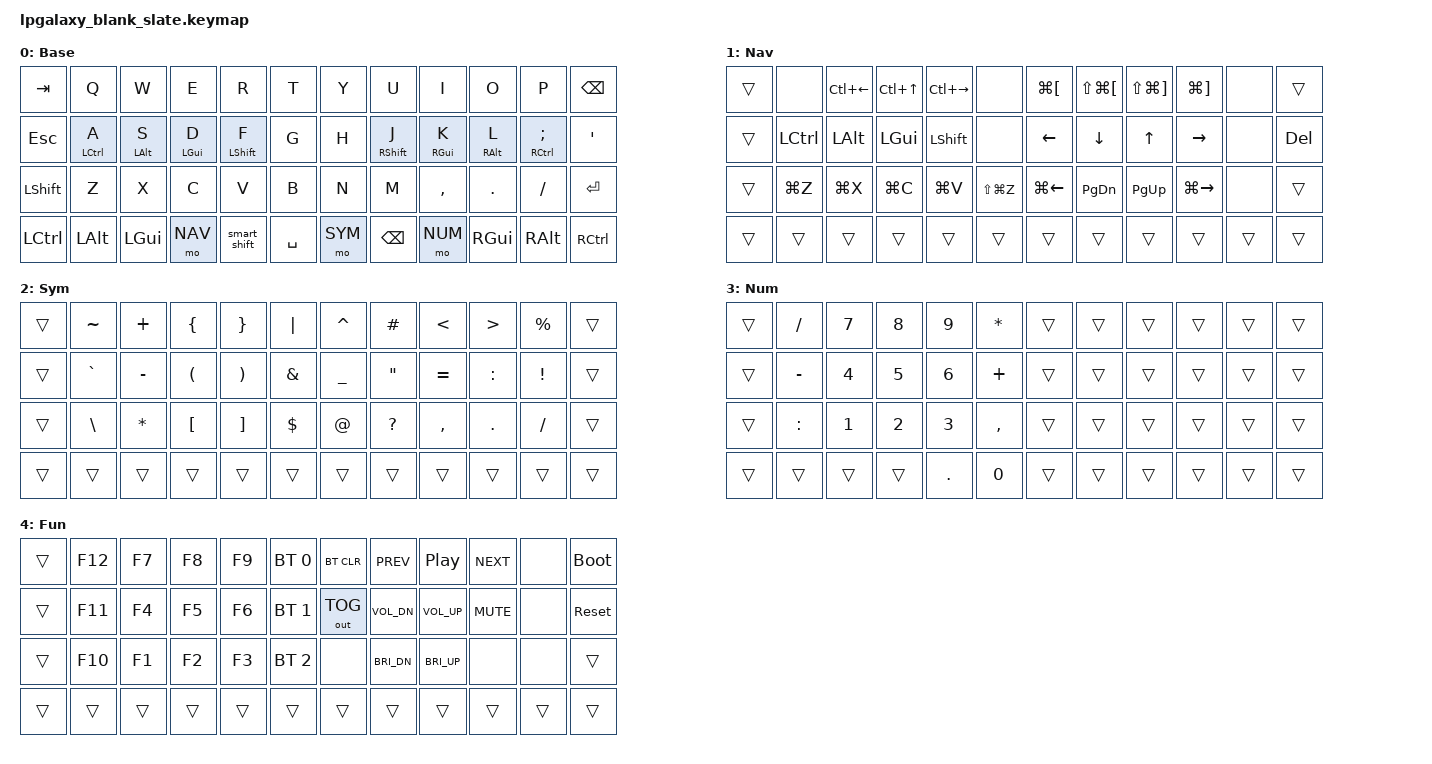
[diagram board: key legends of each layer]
/*
 * LP Galaxy Blank Slate (Planck-compatible 4x12, grid / all 1u) -- QWERTY,
 * macOS, programming (mostly Go + Neovim). Input source on the Mac: US.
 * ZMK board: lpgalaxy_blank_slate (nRF52840, USB + Bluetooth), ZMK v0.3.
 *
 * ==========================================================================
 *  OVERVIEW OF ALL LAYERS
 * ==========================================================================
 *
 * Legend:  A⌃ = tap A, hold Ctrl     ⌃ Ctrl  ⌥ Option  ⌘ Cmd  ⇧ Shift
 *          ⇧* = smart shift (see How to)       blank = nothing / falls through
 *
 * BASE
 *   Tab   Q    W    E    R    T   │  Y    U    I    O    P    Bspc
 *   Esc   A⌃   S⌥   D⌘   F⇧   G   │  H    J⇧   K⌘   L⌥   ;⌃   '
 *   Shft  Z    X    C    V    B   │  N    M    ,    .    /    Enter
 *   ⌃     ⌥    ⌘    NAV  ⇧*  Space│  SYM  Bspc NUM  ⌘    ⌥    ⌃
 *
 * NAV  (hold NAV, left thumb)
 *         ·    Spc← MCtl Spc→ ·   │  Back PTab NTab Fwd  ·
 *         ⌃    ⌥    ⌘    ⇧    ·   │  ←    ↓    ↑    →    ·    Del
 *         Undo Cut  Copy Pste Redo│  LnSt PgDn PgUp LnEn ·
 *                       [held]    │
 *   (LnSt/LnEn = ⌘← / ⌘→ = start/end of line on macOS;
 *    Back/Fwd = ⌘[ / ⌘], PTab/NTab = ⇧⌘[ / ⇧⌘], Spc←/→ = ⌃←/⌃→,
 *    MCtl = Mission Control ⌃↑)
 *
 * SYM  (hold SYM, right thumb)
 *         ~    +    {    }    |   │  ^    #    <    >    %
 *         `    -    (    )    &   │  _    "    =    :    !
 *         \    *    [    ]    $   │  @    ?    ,    .    /
 *                                 │ [held]
 *
 * NUM  (hold NUM, right thumb; right hand keeps typing letters)
 *         /    7    8    9    *   │  y    u    i    o    p
 *         -    4    5    6    +   │  h    j    k    l    ;
 *         :    1    2    3    ,   │  n    m    ,    .    /
 *                        .    0   │            [held]
 *
 * FUN  (hold NAV + SYM together)
 *         F12  F7   F8   F9   BT0 │  BTCl Prev Play Next ·    Boot
 *         F11  F4   F5   F6   BT1 │  USB? Vol- Vol+ Mute ·    Rset
 *         F10  F1   F2   F3   BT2 │  ·    Bri- Bri+ ·    ·
 *                   [held]        │ [held]
 *
 * ==========================================================================
 *  HOW TO
 * ==========================================================================
 *
 * Thumbs
 *   Six thumb keys, each with exactly one job: NAV, smart shift, Space on
 *   the left; SYM, Backspace, NUM on the right. None of them behaves
 *   differently depending on how long you hold it, so there is no timing to
 *   get used to. Layers are only active while their key is held.
 *
 * Modifiers (home row mods)
 *   Hold A S D F (or J K L ;) for Ctrl Option Cmd Shift. This is the order
 *   recommended for macOS. Cmd is on the middle finger because a mistaken
 *   Cmd is the most damaging one (Cmd-W, Cmd-Q).
 *   - A home-row key only turns into a modifier when the NEXT key is on the
 *     other hand (or a thumb). Cmd-C = hold K, tap C. Cmd-L = hold D, tap L.
 *   - While you are typing quickly (a key pressed less than 150 ms ago) the
 *     home row keys are always letters, so rolls like "as" or "jk" are safe.
 *   - Several mods on one hand work: hold A+D (Ctrl+Cmd), then tap a key on
 *     the other hand.
 *   - Modifier + symbol: hold the mod first, then the layer key, then the
 *     symbol. E.g. Cmd-= (zoom): hold D, hold SYM, tap K.
 *   - The corner keys (bottom row) are plain Ctrl/Option/Cmd with no timing,
 *     for Cmd+click, Cmd+drag and other mouse/trackpad use.
 *
 * Capitals and CONSTANTS (⇧* on the left thumb)
 *   - Tap once:  the next key is shifted (NewClient = ⇧* n e w ⇧* c ...).
 *   - Tap twice: caps word, types ALL_CAPS until space or punctuation
 *     (MAX_RETRIES). Digits, _ and Backspace keep it on.
 *   - Hold:      normal Shift.
 *   The outer left Shift key still works like on any keyboard.
 *
 * Symbols (SYM)
 *   Built from the symbol frequencies measured in my own Go code:
 *   " , . : ( ) = { } are the most common symbols; ", := ": }, (" () != //
 *   [] the most common pairs.
 *   - Right home row " = : ! : := and != roll toward the index finger, == is
 *     a double tap with the middle finger.
 *   - Left hand: brackets as open/close pairs in their natural order,
 *     { } over ( ) over [ ], so (), {} and [] are rolls too.
 *     Arithmetic column + - *, logic column | &.
 *   - , . / are in the same place as on the base layer (for ", }, ),).
 *   - < > on the right top row, so <= >= => -> <- |> are comfortable.
 *   - Space (left thumb) and Enter stay usable while SYM is held, so
 *     `x := y` or `err != nil {` never require letting go of the layer.
 *
 * Numbers (NUM)
 *   Numpad on the left hand (7 8 9 / 4 5 6 / 1 2 3), 0 on the left Space
 *   thumb and . next to it. The right hand keeps typing letters, so Neovim
 *   counts work in one go: hold NUM, type 5, then j.
 *
 * Navigation (NAV)
 *   Arrows on H J K L like in Vim. The left home row is plain Ctrl Option
 *   Cmd Shift (no timing), so combine them with the arrows:
 *   NAV + ⌥ + ←/→  = word left/right    NAV + ⇧ + arrows = select
 *   NAV + ⌘ + ↑/↓  = top/bottom of doc  NAV + ⌥ + Bspc   = delete word
 *   Left bottom row: undo, cut, copy, paste, redo, usable with one hand
 *   while the other hand is on the trackpad.
 *   Top row: previous Space, Mission Control, next Space (left); back,
 *   previous tab, next tab, forward (right).
 *
 * Function keys, media, Bluetooth (FUN)
 *   Hold NAV and SYM together. F-keys are laid out like the numpad.
 *   - BT0 / BT1 / BT2: switch between three paired devices (Bluetooth
 *     profiles). Pair a new device: select a free profile, then pick
 *     "Blank Slate" in the Mac's Bluetooth settings.
 *   - BTCl: forget the pairing of the CURRENT profile (re-pair afterwards).
 *   - USB?: toggle output between USB and Bluetooth while the cable is in.
 *   - Boot: enter the bootloader for flashing. Rset: restart the keyboard.
 *
 * Neovim notes
 *   - Holding j/k/l to scroll does NOT repeat (it becomes a modifier).
 *     Use NAV + J/K (arrows repeat), tap-then-hold j (repeats), or counts.
 *   - Esc is a plain key (no Ctrl on hold), so Esc followed quickly by
 *     another key can never turn into a Ctrl shortcut.
 *   - : is on SYM (right ring finger) or Shift + ; as usual.
 *
 * German umlauts (US input source)
 *   Option works from either hand: ö = hold S (Option) + tap U, then O.
 *   ß = hold L (Option) + tap S.
 *
 * Flashing (UF2, nothing to install)
 *   1. Download the firmware from the GitHub Actions run of this repo
 *      (artifact zip contains lpgalaxy_blank_slate-zmk.uf2).
 *   2. Connect the keyboard by USB and press Boot (hold NAV + SYM, tap the
 *      top-right key). If the keymap is ever broken, double-tapping the
 *      board's reset (if reachable) is the usual UF2 fallback.
 *   3. A USB drive appears in Finder. Copy the .uf2 onto it. The keyboard
 *      restarts by itself when the copy is done (macOS may warn that the
 *      drive was not ejected properly -- that is expected).
 *
 * Key positions (used by the home-row-mod hold-trigger lists):
 *   0  1  2  3  4  5 |  6  7  8  9 10 11
 *  12 13 14 15 16 17 | 18 19 20 21 22 23
 *  24 25 26 27 28 29 | 30 31 32 33 34 35
 *  36 37 38 39 40 41 | 42 43 44 45 46 47
 */

#include <behaviors.dtsi>
#include <dt-bindings/zmk/keys.h>
#include <dt-bindings/zmk/bt.h>
#include <dt-bindings/zmk/outputs.h>

#define BASE 0
#define NAV  1
#define SYM  2
#define NUM  3
#define FUN  4

#define KEYS_L 0 1 2 3 4 5 12 13 14 15 16 17 24 25 26 27 28 29
#define KEYS_R 6 7 8 9 10 11 18 19 20 21 22 23 30 31 32 33 34 35
#define THUMBS 36 37 38 39 40 41 42 43 44 45 46 47

&sk {
    release-after-ms = <1000>;
    quick-release; // release on the next key PRESS, so "Hello" never becomes "HEllo"
};

/ {
    chosen {
        zmk,physical-layout = &layout_ortho_4x12_all1u;
    };

    behaviors {
        // Left-hand home row mods: only resolve to a modifier when the next key
        // is on the right hand or a thumb.
        hml: home_row_mod_left {
            compatible = "zmk,behavior-hold-tap";
            #binding-cells = <2>;
            flavor = "balanced";
            tapping-term-ms = <280>;
            quick-tap-ms = <175>;          // tap then hold = key repeat
            require-prior-idle-ms = <150>; // pressed mid-word = always a letter
            bindings = <&kp>, <&kp>;
            hold-trigger-key-positions = <KEYS_R THUMBS>;
            hold-trigger-on-release;       // still allows same-hand mod chords
        };

        // Right-hand home row mods: mirror image of hml.
        hmr: home_row_mod_right {
            compatible = "zmk,behavior-hold-tap";
            #binding-cells = <2>;
            flavor = "balanced";
            tapping-term-ms = <280>;
            quick-tap-ms = <175>;
            require-prior-idle-ms = <150>;
            bindings = <&kp>, <&kp>;
            hold-trigger-key-positions = <KEYS_L THUMBS>;
            hold-trigger-on-release;
        };

        // Tap: sticky shift. Tap again while shift is active: caps word.
        // Hold: plain shift. No timers involved.
        smart_shift: smart_shift {
            compatible = "zmk,behavior-mod-morph";
            #binding-cells = <0>;
            bindings = <&sk LSHFT>, <&caps_word>;
            mods = <(MOD_LSFT|MOD_RSFT)>;
        };
    };

    conditional_layers {
        compatible = "zmk,conditional-layers";
        // Hold NAV + SYM (both thumbs) for function keys and media.
        fun_layer {
            if-layers = <NAV SYM>;
            then-layer = <FUN>;
        };
    };

    keymap {
        compatible = "zmk,keymap";

        // ,-----------------------------------------------------------------------------------.
        // | Tab  |   Q  |   W  |   E  |   R  |   T  |   Y  |   U  |   I  |   O  |   P  | Bspc |
        // |------+------+------+------+------+------+------+------+------+------+------+------|
        // | Esc  |A/Ctl |S/Opt |D/Cmd |F/Sft |   G  |   H  |J/Sft |K/Cmd |L/Opt |;/Ctl |  '   |
        // |------+------+------+------+------+------+------+------+------+------+------+------|
        // | Shift|   Z  |   X  |   C  |   V  |   B  |   N  |   M  |   ,  |   .  |   /  | Enter|
        // |------+------+------+------+------+------+------+------+------+------+------+------|
        // | Ctrl | Opt  | Cmd  | NAV  |SShift| Space| SYM  | Bspc | NUM  | Cmd  | Opt  | Ctrl |
        // `-----------------------------------------------------------------------------------'
        default_layer {
            display-name = "Base";
            bindings = <
    &kp TAB    &kp Q          &kp W         &kp E         &kp R          &kp T         &kp Y      &kp U          &kp I          &kp O         &kp P           &kp BSPC
    &kp ESC    &hml LCTRL A   &hml LALT S   &hml LGUI D   &hml LSHFT F   &kp G         &kp H      &hmr RSHFT J   &hmr RGUI K    &hmr RALT L   &hmr RCTRL SEMI &kp SQT
    &kp LSHFT  &kp Z          &kp X         &kp C         &kp V          &kp B         &kp N      &kp M          &kp COMMA      &kp DOT       &kp FSLH        &kp RET
    &kp LCTRL  &kp LALT       &kp LGUI      &mo NAV       &smart_shift   &kp SPACE     &mo SYM    &kp BSPC       &mo NUM        &kp RGUI      &kp RALT        &kp RCTRL
            >;
        };

        // Held by the left thumb. Right hand: Vim-style arrows (H J K L), line
        // start/end and page up/down below, back/forward and tabs above.
        // Left hand: plain modifiers (no timing) so NAV + Shift/Opt/Cmd + arrow
        // selects / jumps by word / jumps to line ends. Bottom row: undo, cut,
        // copy, paste, redo for one-handed use while the other hand is on the
        // trackpad. Top row: previous Space, Mission Control, next Space.
        // ,-----------------------------------------------------------------------------------.
        // |      |      |Spc ← | MCtl |Spc → |      | Back |PrvTab|NxtTab| Fwd  |      |      |
        // |------+------+------+------+------+------+------+------+------+------+------+------|
        // |      | Ctrl | Opt  | Cmd  |Shift |      |  ←   |  ↓   |  ↑   |  →   |      | Del  |
        // |------+------+------+------+------+------+------+------+------+------+------+------|
        // |      | Undo | Cut  | Copy |Paste | Redo |LnStrt| PgDn | PgUp |LnEnd |      |      |
        // |------+------+------+------+------+------+------+------+------+------+------+------|
        // |      |      |      |(held)|      |      |      |      |      |      |      |      |
        // `-----------------------------------------------------------------------------------'
        nav_layer {
            display-name = "Nav";
            bindings = <
    &trans  &none       &kp LC(LEFT)  &kp LC(UP)   &kp LC(RIGHT)  &none          &kp LG(LBKT)  &kp LS(LG(LBKT))  &kp LS(LG(RBKT))  &kp LG(RBKT)   &none   &trans
    &trans  &kp LCTRL   &kp LALT      &kp LGUI     &kp LSHFT      &none          &kp LEFT      &kp DOWN          &kp UP            &kp RIGHT      &none   &kp DEL
    &trans  &kp LG(Z)   &kp LG(X)     &kp LG(C)    &kp LG(V)      &kp LS(LG(Z))  &kp LG(LEFT)  &kp PG_DN         &kp PG_UP         &kp LG(RIGHT)  &none   &trans
    &trans  &trans      &trans        &trans       &trans         &trans         &trans        &trans            &trans            &trans         &trans  &trans
            >;
        };

        // Held by the right thumb. Space, Enter, Tab, Esc and Bspc stay
        // reachable, so "x := y" or "err != nil" never needs leaving the layer.
        //  - left: brackets as open/close pairs ({} () []: inward rolls),
        //    arithmetic column + - *, logic column | &.
        //  - right home: " = : ! so that := and != are inward rolls and == is
        //    a middle-finger double tap. < > above (<= >= => -> |> <- roll).
        //  - right bottom: , . / in their base-layer positions (for ", }, ),).
        // ,-----------------------------------------------------------------------------------.
        // |      |   ~  |   +  |   {  |   }  |   |  |   ^  |   #  |   <  |   >  |   %  |      |
        // |------+------+------+------+------+------+------+------+------+------+------+------|
        // |      |   `  |   -  |   (  |   )  |   &  |   _  |   "  |   =  |   :  |   !  |      |
        // |------+------+------+------+------+------+------+------+------+------+------+------|
        // |      |   \  |   *  |   [  |   ]  |   $  |   @  |   ?  |   ,  |   .  |   /  |      |
        // |------+------+------+------+------+------+------+------+------+------+------+------|
        // |      |      |      |      |      |      |(held)|      |      |      |      |      |
        // `-----------------------------------------------------------------------------------'
        sym_layer {
            display-name = "Sym";
            bindings = <
    &trans  &kp TILDE  &kp PLUS   &kp LBRC  &kp RBRC  &kp PIPE   &kp CARET  &kp HASH  &kp LT     &kp GT    &kp PRCNT  &trans
    &trans  &kp GRAVE  &kp MINUS  &kp LPAR  &kp RPAR  &kp AMPS   &kp UNDER  &kp DQT   &kp EQUAL  &kp COLON &kp EXCL   &trans
    &trans  &kp BSLH   &kp ASTRK  &kp LBKT  &kp RBKT  &kp DLLR   &kp AT     &kp QMARK &kp COMMA  &kp DOT   &kp FSLH   &trans
    &trans  &trans     &trans     &trans    &trans    &trans     &trans     &trans    &trans     &trans    &trans     &trans
            >;
        };

        // Held by the right thumb (outer). Numpad on the left hand, 0 on the
        // left home thumb, . next to it. The right hand stays transparent so
        // Neovim counts (5j, 12k) work without releasing the layer.
        // ,-----------------------------------------------------------------------------------.
        // |      |   /  |   7  |   8  |   9  |   *  |      |      |      |      |      |      |
        // |------+------+------+------+------+------+------+------+------+------+------+------|
        // |      |   -  |   4  |   5  |   6  |   +  |      |      |      |      |      |      |
        // |------+------+------+------+------+------+------+------+------+------+------+------|
        // |      |   :  |   1  |   2  |   3  |   ,  |      |      |      |      |      |      |
        // |------+------+------+------+------+------+------+------+------+------+------+------|
        // |      |      |      |      |   .  |   0  |      |      |(held)|      |      |      |
        // `-----------------------------------------------------------------------------------'
        num_layer {
            display-name = "Num";
            bindings = <
    &trans  &kp FSLH   &kp N7  &kp N8  &kp N9   &kp ASTRK  &trans  &trans  &trans  &trans  &trans  &trans
    &trans  &kp MINUS  &kp N4  &kp N5  &kp N6   &kp PLUS   &trans  &trans  &trans  &trans  &trans  &trans
    &trans  &kp COLON  &kp N1  &kp N2  &kp N3   &kp COMMA  &trans  &trans  &trans  &trans  &trans  &trans
    &trans  &trans     &trans  &trans  &kp DOT  &kp N0     &trans  &trans  &trans  &trans  &trans  &trans
            >;
        };

        // NAV + SYM held together. F-keys mirror the numpad, F10-F12 in the
        // pinky column. Bluetooth profiles in the left inner column, media and
        // brightness on the right hand, bootloader / reset in the right corner.
        // ,-----------------------------------------------------------------------------------.
        // |      | F12  |  F7  |  F8  |  F9  | BT0  | BTCl | Prev | Play | Next |      | Boot |
        // |------+------+------+------+------+------+------+------+------+------+------+------|
        // |      | F11  |  F4  |  F5  |  F6  | BT1  | USB? | Vol- | Vol+ | Mute |      | Rset |
        // |------+------+------+------+------+------+------+------+------+------+------+------|
        // |      | F10  |  F1  |  F2  |  F3  | BT2  |      | Bri- | Bri+ |      |      |      |
        // |------+------+------+------+------+------+------+------+------+------+------+------|
        // |      |      |      |(held)|      |      |(held)|      |      |      |      |      |
        // `-----------------------------------------------------------------------------------'
        fun_layer {
            display-name = "Fun";
            bindings = <
    &trans  &kp F12  &kp F7  &kp F8  &kp F9  &bt BT_SEL 0  &bt BT_CLR   &kp C_PREV    &kp C_PP      &kp C_NEXT  &none   &bootloader
    &trans  &kp F11  &kp F4  &kp F5  &kp F6  &bt BT_SEL 1  &out OUT_TOG &kp C_VOL_DN  &kp C_VOL_UP  &kp C_MUTE  &none   &sys_reset
    &trans  &kp F10  &kp F1  &kp F2  &kp F3  &bt BT_SEL 2  &none        &kp C_BRI_DN  &kp C_BRI_UP  &none       &none   &trans
    &trans  &trans   &trans  &trans  &trans  &trans  &trans  &trans        &trans        &trans      &trans  &trans
            >;
        };
    };
};
